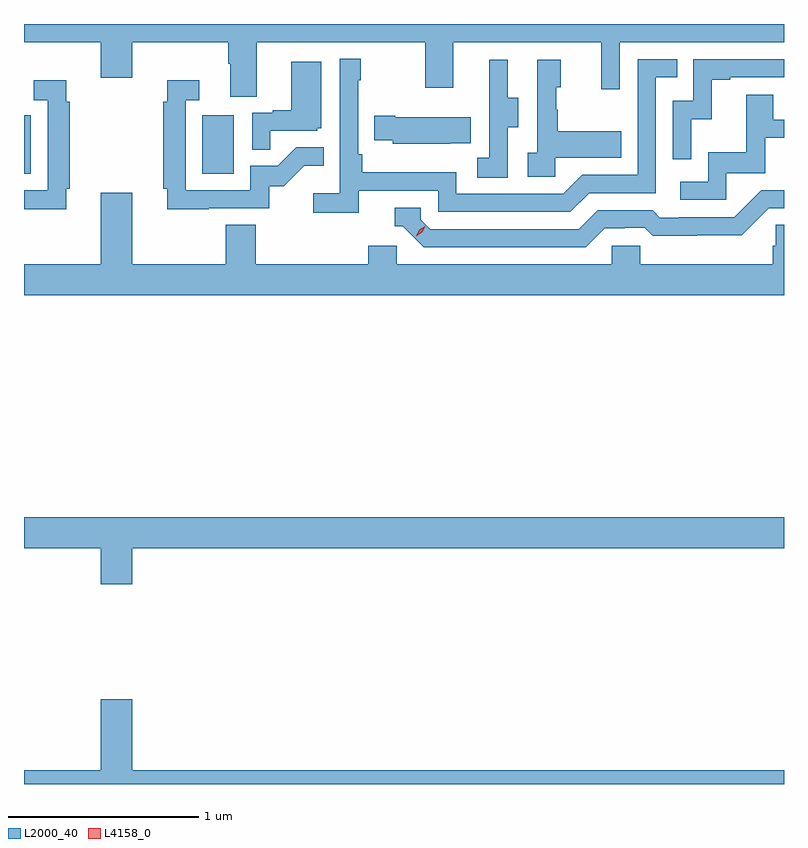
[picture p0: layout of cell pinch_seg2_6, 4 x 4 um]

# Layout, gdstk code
import gdstk
lib = gdstk.Library(unit=1e-6, precision=1e-09)
def R(c, l, rs):  # rectangles x0, y0, x1, y1
    for r in rs: c.add(gdstk.rectangle(r[:2], r[2:], *l))
def P(c, l, *ps):  # polygons
    for p in ps: c.add(gdstk.Polygon(p, *l))
L2000_40 = (2000, 40)
L4158_0 = (4158, 0)

pinch_seg2_6 = lib.new_cell('pinch_seg2_6')
R(pinch_seg2_6, L2000_40, [(1123.643,664.26,1123.678,664.567), (1124.582,664.26,1124.746,664.567)])
P(pinch_seg2_6, L2000_40, [(1124.869,664.952),(1125.754,664.952),(1125.754,664.713),(1125.901,664.713),(1125.901,664.952),(1126.682,664.952),(1126.682,664.704),(1126.779,664.704),(1126.779,664.952),(1127.643,664.952),(1127.643,665.048),(1123.643,665.048),(1123.643,664.952),(1124.048,664.952),(1124.048,664.764),(1124.212,664.764),(1124.212,664.952),(1124.717,664.952),(1124.717,664.84),(1124.729,664.84),(1124.729,664.666),(1124.869,664.666)],
  [(1125.404,664.17),(1125.822,664.17),(1125.822,664.059),(1126.519,664.059),(1126.618,664.158),(1126.968,664.158),(1126.968,664.767),(1127.081,664.767),(1127.081,664.863),(1126.872,664.863),(1126.872,664.254),(1126.581,664.254),(1126.482,664.155),(1125.918,664.155),(1125.918,664.267),(1125.422,664.267),(1125.422,664.363),(1125.402,664.363),(1125.402,664.751),(1125.415,664.751),(1125.415,664.864),(1125.306,664.864),(1125.306,664.156),(1125.165,664.156),(1125.165,664.054),(1125.404,664.054)],
  [(1127.154,664.547),(1127.264,664.547),(1127.264,664.755),(1127.359,664.755),(1127.359,664.767),(1127.643,664.767),(1127.643,664.863),(1127.166,664.863),(1127.166,664.644),(1127.058,664.644),(1127.058,664.335),(1127.154,664.335)],
  [(1126.44,664.343),(1126.787,664.343),(1126.787,664.483),(1126.453,664.483),(1126.453,664.598),(1126.443,664.598),(1126.443,664.716),(1126.468,664.716),(1126.468,664.861),(1126.344,664.861),(1126.344,664.37),(1126.293,664.37),(1126.293,664.245),(1126.44,664.245)],
  [(1126.188,664.504),(1126.243,664.504),(1126.243,664.659),(1126.189,664.659),(1126.189,664.861),(1126.091,664.861),(1126.091,664.647),(1126.092,664.647),(1126.092,664.343),(1126.029,664.343),(1126.029,664.24),(1126.188,664.24)],
  [(1124.939,664.485),(1125.186,664.485),(1125.186,664.5),(1125.208,664.5),(1125.208,664.849),(1125.05,664.849),(1125.05,664.594),(1124.951,664.594),(1124.951,664.581),(1124.844,664.581),(1124.844,664.387),(1124.939,664.387)],
  [(1124.615,664.077),(1124.934,664.077),(1124.934,664.194),(1125.01,664.194),(1125.117,664.301),(1125.221,664.301),(1125.221,664.4),(1125.077,664.4),(1124.979,664.302),(1124.835,664.302),(1124.835,664.173),(1124.493,664.173),(1124.493,664.647),(1124.566,664.647),(1124.566,664.753),(1124.396,664.753),(1124.396,664.64),(1124.377,664.64),(1124.377,664.18),(1124.396,664.18),(1124.396,664.072),(1124.615,664.072)],
  [(1123.865,664.18),(1123.883,664.18),(1123.883,664.64),(1123.865,664.64),(1123.865,664.753),(1123.695,664.753),(1123.695,664.647),(1123.767,664.647),(1123.767,664.173),(1123.643,664.173),(1123.643,664.077),(1123.645,664.077),(1123.645,664.072),(1123.865,664.072)],
  [(1127.34,664.263),(1127.545,664.263),(1127.545,664.449),(1127.643,664.449),(1127.643,664.545),(1127.587,664.545),(1127.587,664.675),(1127.443,664.675),(1127.443,664.372),(1127.244,664.372),(1127.244,664.218),(1127.097,664.218),(1127.097,664.122),(1127.34,664.122)],
  [(1125.887,664.421),(1125.995,664.421),(1125.995,664.558),(1125.598,664.558),(1125.598,664.566),(1125.487,664.566),(1125.487,664.436),(1125.585,664.436),(1125.585,664.418),(1125.887,664.418)],
  [(1126.699,663.972),(1126.806,663.972),(1126.806,663.975),(1126.909,663.975),(1126.951,663.933),(1127.184,663.933),(1127.184,663.935),(1127.42,663.935),(1127.562,664.077),(1127.643,664.077),(1127.643,664.173),(1127.523,664.173),(1127.382,664.032),(1127.089,664.032),(1127.089,664.029),(1126.99,664.029),(1126.951,664.068),(1126.662,664.068),(1126.563,663.969),(1125.78,663.969),(1125.732,664.017),(1125.732,664.08),(1125.593,664.08),(1125.593,663.984),(1125.636,663.984),(1125.747,663.873),(1126.6,663.873)],
  [(1127.643,663.992),(1127.599,663.992),(1127.599,663.882),(1127.585,663.882),(1127.585,663.784),(1126.887,663.784),(1126.887,663.882),(1126.737,663.882),(1126.737,663.784),(1125.606,663.784),(1125.606,663.882),(1125.455,663.882),(1125.455,663.784),(1124.864,663.784),(1124.864,663.992),(1124.704,663.992),(1124.704,663.784),(1124.212,663.784),(1124.212,664.159),(1124.048,664.159),(1124.048,663.784),(1123.643,663.784),(1123.643,663.62),(1127.643,663.62)],
  [(1124.212,662.288),(1127.643,662.288),(1127.643,662.452),(1123.643,662.452),(1123.643,662.288),(1124.048,662.288),(1124.048,662.1),(1124.212,662.1)],
  [(1123.643,661.048),(1127.643,661.048),(1127.643,661.12),(1124.212,661.12),(1124.212,661.495),(1124.048,661.495),(1124.048,661.12),(1123.643,661.12)])
P(pinch_seg2_6, L4158_0, [(1125.707,663.932),(1125.707,663.932),(1125.724,663.965),(1125.754,663.984),(1125.755,663.984),(1125.755,663.984),(1125.738,663.951),(1125.708,663.932)])

lib.write_gds('pinch_seg2_6.gds')
